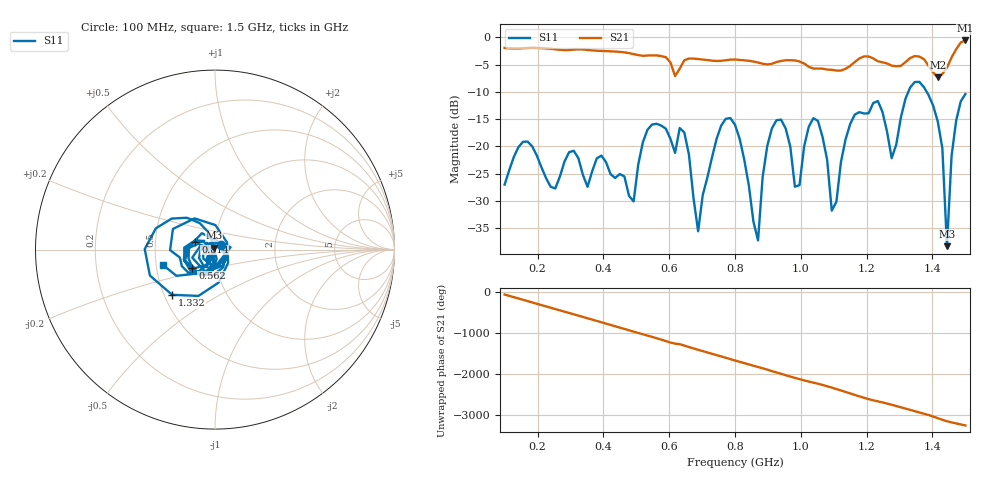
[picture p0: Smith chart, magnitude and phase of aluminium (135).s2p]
! NanoVNA-App
! Date: 2025-09-25 14:56:20
! Start: 100MHz Stop: 1,5GHz Points: 101
! S-Parameter data: F S11 S21 S12 S22
# Hz S RI R 50
!  Frequency  S11_Real  S11_Imag  S21_Real  S21_Imag  S12_Real  S12_Imag  S22_Real  S22_Imag
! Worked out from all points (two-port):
!   101 points, 100 MHz to 1.5 GHz, reference 50 ohm
!   highest |S21| = -0.55 dB at 1.5 GHz (marker M1); lowest = -7.3 dB at 1.416 GHz (marker M2)
!   |S21| within 3 dB of the highest: start of sweep to 584.7 MHz; 1.459 GHz to end of sweep (the widest 2 of 4)
!   lowest |S11| = -38.3 dB at 1.444 GHz (marker M3), VSWR 1.02, Z = 49.4 + j1.08 ohm
!   |S11| at or under -10 dB: start of sweep to 1.326 GHz; 1.383 GHz to end of sweep
!   S12 and S22 are empty: the file has one direction only
!   S11 on the Smith chart (normalised r, x): 100 MHz: 1.07, +0.06; 562 MHz: 0.76, -0.16; 814 MHz: 0.80, +0.07; 1.332 GHz: 0.55, -0.32; 1.5 GHz: 0.54, -0.10
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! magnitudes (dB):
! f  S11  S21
! 100 MHz  -27.0  -1.9
! 338 MHz  -25.2  -2.2
! 492 MHz  -30.1  -3.1
! 562 MHz  -15.8  -3.3
! 576 MHz  -16.2  -3.4
! 646 MHz  -17.4  -4.2
! 688 MHz  -35.6  -4.0
! 800 MHz  -16.0  -4.0
! 814 MHz  -18.6  -4.1
! 870 MHz  -37.2  -4.6
! 912 MHz  -16.7  -4.8
! 982 MHz  -27.4  -4.2
! 1.038 GHz  -14.8  -5.7
! 1.094 GHz  -31.8  -5.9
! 1.164 GHz  -14.1  -4.5
! 1.234 GHz  -11.7  -4.4
! 1.276 GHz  -22.1  -5.2
! 1.332 GHz  -9.2  -3.8
! 1.416 GHz  -15.4  -7.3
! 1.444 GHz  -38.3  -5.5
! 1.458 GHz  -21.7  -3.7
! 1.5 GHz  -10.4  -0.5
